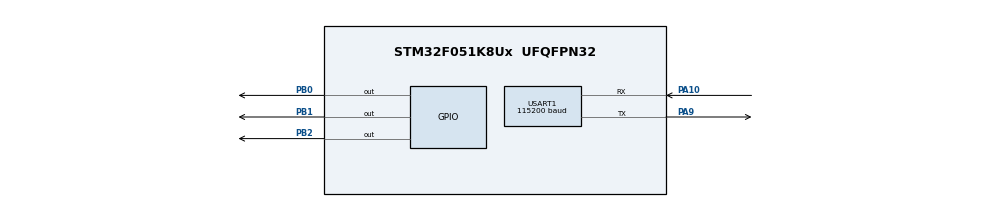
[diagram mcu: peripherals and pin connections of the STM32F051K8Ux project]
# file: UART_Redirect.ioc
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Mcu.Family=STM32F0
Mcu.Name=STM32F051K8Ux
Mcu.Package=UFQFPN32
PA10.Mode=Asynchronous
PA10.Signal=USART1_RX
PA9.Mode=Asynchronous
PA9.Signal=USART1_TX
PB0.PinState=GPIO_PIN_SET
PB0.Signal=GPIO_Output
PB1.PinState=GPIO_PIN_SET
PB1.Signal=GPIO_Output
PB2.PinState=GPIO_PIN_SET
PB2.Signal=GPIO_Output
ProjectManager.HeapSize=0x200
ProjectManager.StackSize=0x400
ProjectManager.TargetToolchain=MDK-ARM V5
USART1.BaudRate=115200
USART1.VirtualMode-Asynchronous=VM_ASYNC
board=UART_Redirect

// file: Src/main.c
/**
  ******************************************************************************
  * File Name          : main.c
  * Description        : Main program body
  ******************************************************************************
  ** This notice applies to any and all portions of this file
  * that are not between comment pairs USER CODE BEGIN and
  * USER CODE END. Other portions of this file, whether
  * inserted by the user or by software development tools
  * are owned by their respective copyright owners.
  *
  * COPYRIGHT(c) 2020 STMicroelectronics
  *
  * Redistribution and use in source and binary forms, with or without modification,
  * are permitted provided that the following conditions are met:
  *   1. Redistributions of source code must retain the above copyright notice,
  *      this list of conditions and the following disclaimer.
  *   2. Redistributions in binary form must reproduce the above copyright notice,
  *      this list of conditions and the following disclaimer in the documentation
  *      and/or other materials provided with the distribution.
  *   3. Neither the name of STMicroelectronics nor the names of its contributors
  *      may be used to endorse or promote products derived from this software
  *      without specific prior written permission.
  *
  * THIS SOFTWARE IS PROVIDED BY THE COPYRIGHT HOLDERS AND CONTRIBUTORS "AS IS"
  * AND ANY EXPRESS OR IMPLIED WARRANTIES, INCLUDING, BUT NOT LIMITED TO, THE
  * IMPLIED WARRANTIES OF MERCHANTABILITY AND FITNESS FOR A PARTICULAR PURPOSE ARE
  * DISCLAIMED. IN NO EVENT SHALL THE COPYRIGHT HOLDER OR CONTRIBUTORS BE LIABLE
  * FOR ANY DIRECT, INDIRECT, INCIDENTAL, SPECIAL, EXEMPLARY, OR CONSEQUENTIAL
  * DAMAGES (INCLUDING, BUT NOT LIMITED TO, PROCUREMENT OF SUBSTITUTE GOODS OR
  * SERVICES; LOSS OF USE, DATA, OR PROFITS; OR BUSINESS INTERRUPTION) HOWEVER
  * CAUSED AND ON ANY THEORY OF LIABILITY, WHETHER IN CONTRACT, STRICT LIABILITY,
  * OR TORT (INCLUDING NEGLIGENCE OR OTHERWISE) ARISING IN ANY WAY OUT OF THE USE
  * OF THIS SOFTWARE, EVEN IF ADVISED OF THE POSSIBILITY OF SUCH DAMAGE.
  *
  ******************************************************************************
  */
#include "main.h"
#include "stm32f0xx_hal.h"
#include "usart.h"
#include "gpio.h"

/* USER CODE BEGIN Includes */
#include <string.h>
/* USER CODE END Includes */

/* USER CODE BEGIN PV */
/* Private variables ---------------------------------------------------------*/

/* USER CODE END PV */

void SystemClock_Config(void);

/* USER CODE BEGIN PFP */
/* Private function prototypes -----------------------------------------------*/

/* USER CODE END PFP */

/* USER CODE BEGIN 0 */
//char buffer[32];
//const char *open = "open";
//const char *close = "close";
char buffer;

int fputc(int ch, FILE *fp){
	while(__HAL_UART_GET_FLAG(&huart1, UART_FLAG_TXE) == RESET);
	huart1.Instance->TDR = ch;
	return ch;
}

int fgetc(FILE * fp){
	int ch;
	while(__HAL_UART_GET_FLAG(&huart1, UART_FLAG_RXNE) == RESET);
	ch = huart1.Instance->RDR;
	fputc(ch, NULL);
	return ch;
}
/* USER CODE END 0 */

int main(void)
{

  /* MCU Configuration----------------------------------------------------------*/

  /* Reset of all peripherals, Initializes the Flash interface and the Systick. */
  HAL_Init();

  /* Configure the system clock */
  SystemClock_Config();

  /* Initialize all configured peripherals */
  MX_GPIO_Init();
  MX_USART1_UART_Init();

  /* Infinite loop */
  /* USER CODE BEGIN WHILE */
  while (1)
  {
	  printf("\nPlease input command:");
	  scanf("%c",&buffer);
	  printf("\nRecv: %c\n", buffer);
	  switch(buffer){
		  case 'a':
			  HAL_GPIO_WritePin(GPIOB, GPIO_PIN_0, GPIO_PIN_RESET);
		      break;
		  case 'b':
			  HAL_GPIO_WritePin(GPIOB, GPIO_PIN_1, GPIO_PIN_RESET);
		      break;
		  case 'c':
			  HAL_GPIO_WritePin(GPIOB, GPIO_PIN_2, GPIO_PIN_RESET);
		      break;
		  case 'd':
			  HAL_GPIO_WritePin(GPIOB, GPIO_PIN_0, GPIO_PIN_SET);
		      break;
		  case 'e':
			  HAL_GPIO_WritePin(GPIOB, GPIO_PIN_1, GPIO_PIN_SET);
		      break;
		  case 'f':
			  HAL_GPIO_WritePin(GPIOB, GPIO_PIN_2, GPIO_PIN_SET);
		      break;
		  case 'g':
			  HAL_GPIO_WritePin(GPIOB, GPIO_PIN_0, GPIO_PIN_SET);
			  HAL_GPIO_WritePin(GPIOB, GPIO_PIN_1, GPIO_PIN_SET);
			  HAL_GPIO_WritePin(GPIOB, GPIO_PIN_2, GPIO_PIN_SET);
		      break;
		  default :
			  HAL_GPIO_WritePin(GPIOB, GPIO_PIN_0, GPIO_PIN_RESET);
			  HAL_GPIO_WritePin(GPIOB, GPIO_PIN_1, GPIO_PIN_RESET);
			  HAL_GPIO_WritePin(GPIOB, GPIO_PIN_2, GPIO_PIN_RESET);
	  }

//	  if(buffer == 'a'){
//		  HAL_GPIO_WritePin(GPIOB, GPIO_PIN_0, GPIO_PIN_RESET);
//	  }
//	  else if(buffer == 'b'){
//		  HAL_GPIO_WritePin(GPIOB, GPIO_PIN_1, GPIO_PIN_RESET);
//	  }
//	  else if(buffer == 'c'){
//		  HAL_GPIO_WritePin(GPIOB, GPIO_PIN_2, GPIO_PIN_RESET);
//	  }

  /* USER CODE END WHILE */

  }

}

/** System Clock Configuration
*/
void SystemClock_Config(void)
{

  RCC_OscInitTypeDef RCC_OscInitStruct;
  RCC_ClkInitTypeDef RCC_ClkInitStruct;
  RCC_PeriphCLKInitTypeDef PeriphClkInit;

    /**Initializes the CPU, AHB and APB busses clocks
    */
  RCC_OscInitStruct.OscillatorType = RCC_OSCILLATORTYPE_HSI;
  RCC_OscInitStruct.HSIState = RCC_HSI_ON;
  RCC_OscInitStruct.HSICalibrationValue = 16;
  RCC_OscInitStruct.PLL.PLLState = RCC_PLL_NONE;
  if (HAL_RCC_OscConfig(&RCC_OscInitStruct) != HAL_OK)
  {
    _Error_Handler(__FILE__, __LINE__);
  }

    /**Initializes the CPU, AHB and APB busses clocks
    */
  RCC_ClkInitStruct.ClockType = RCC_CLOCKTYPE_HCLK|RCC_CLOCKTYPE_SYSCLK
                              |RCC_CLOCKTYPE_PCLK1;
  RCC_ClkInitStruct.SYSCLKSource = RCC_SYSCLKSOURCE_HSI;
  RCC_ClkInitStruct.AHBCLKDivider = RCC_SYSCLK_DIV1;
  RCC_ClkInitStruct.APB1CLKDivider = RCC_HCLK_DIV1;

  if (HAL_RCC_ClockConfig(&RCC_ClkInitStruct, FLASH_LATENCY_0) != HAL_OK)
  {
    _Error_Handler(__FILE__, __LINE__);
  }

  PeriphClkInit.PeriphClockSelection = RCC_PERIPHCLK_USART1;
  PeriphClkInit.Usart1ClockSelection = RCC_USART1CLKSOURCE_PCLK1;
  if (HAL_RCCEx_PeriphCLKConfig(&PeriphClkInit) != HAL_OK)
  {
    _Error_Handler(__FILE__, __LINE__);
  }

    /**Configure the Systick interrupt time
    */
  HAL_SYSTICK_Config(HAL_RCC_GetHCLKFreq()/1000);

    /**Configure the Systick
    */
  HAL_SYSTICK_CLKSourceConfig(SYSTICK_CLKSOURCE_HCLK);

  /* SysTick_IRQn interrupt configuration */
  HAL_NVIC_SetPriority(SysTick_IRQn, 0, 0);
}

void _Error_Handler(char * file, int line)
{
  while(1)
  {
  }
}

/************************ (C) COPYRIGHT STMicroelectronics *****END OF FILE****/
